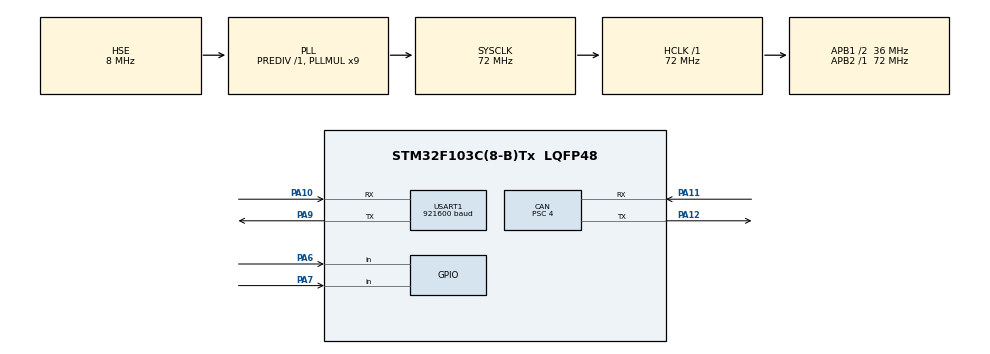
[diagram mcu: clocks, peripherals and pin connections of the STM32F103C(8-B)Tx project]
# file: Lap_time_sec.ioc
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CAN.BS1=CAN_BS1_15TQ
CAN.BS2=CAN_BS2_2TQ
CAN.CalculateBaudRate=500000
CAN.CalculateTimeBit=1999.99
CAN.CalculateTimeQuantum=111.11111111111111
CAN.Prescaler=4
Mcu.Family=STM32F1
Mcu.Name=STM32F103C(8-B)Tx
Mcu.Package=LQFP48
NVIC.PriorityGroup=NVIC_PRIORITYGROUP_4
NVIC.TIM3_IRQn=true\:0\:0\:false\:false\:true\:true\:true
NVIC.USB_LP_CAN1_RX0_IRQn=true\:0\:0\:false\:false\:true\:true\:true
PA10.Mode=Asynchronous
PA10.Signal=USART1_RX
PA11.Mode=CAN_Activate
PA11.Signal=CAN_RX
PA12.Mode=CAN_Activate
PA12.Signal=CAN_TX
PA13.Mode=Serial_Wire
PA13.Signal=SYS_JTMS-SWDIO
PA14.Mode=Serial_Wire
PA14.Signal=SYS_JTCK-SWCLK
PA6.GPIO_PuPd=GPIO_PULLUP
PA6.Signal=GPIO_Input
PA7.GPIO_PuPd=GPIO_PULLUP
PA7.Signal=GPIO_Input
PA9.Mode=Asynchronous
PA9.Signal=USART1_TX
PD0-OSC_IN.Mode=HSE-External-Oscillator
PD0-OSC_IN.Signal=RCC_OSC_IN
PD1-OSC_OUT.Mode=HSE-External-Oscillator
PD1-OSC_OUT.Signal=RCC_OSC_OUT
ProjectManager.HeapSize=0x200
ProjectManager.StackSize=0x400
ProjectManager.TargetToolchain=MDK-ARM V5
RCC.AHBFreq_Value=72000000
RCC.APB1CLKDivider=RCC_HCLK_DIV2
RCC.APB1Freq_Value=36000000
RCC.APB1TimFreq_Value=72000000
RCC.APB2Freq_Value=72000000
RCC.APB2TimFreq_Value=72000000
RCC.HCLKFreq_Value=72000000
RCC.PLLMUL=RCC_PLL_MUL9
RCC.PLLSourceVirtual=RCC_PLLSOURCE_HSE
RCC.SYSCLKFreq_VALUE=72000000
RCC.SYSCLKSource=RCC_SYSCLKSOURCE_PLLCLK
RCC.USBFreq_Value=72000000
TIM3.Period=10-1
TIM3.Prescaler=7200-1
USART1.BaudRate=921600
USART1.VirtualMode=VM_ASYNC
VP_TIM3_VS_ClockSourceINT.Mode=Internal
board=custom

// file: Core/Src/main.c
/* USER CODE BEGIN Header */
/**
  ******************************************************************************
  * @file           : main.c
  * @brief          : Main program body
  ******************************************************************************
  * @attention
  *
  * <h2><center>&copy; Copyright (c) 2022 STMicroelectronics.
  * All rights reserved.</center></h2>
  *
  * This software component is licensed by ST under BSD 3-Clause license,
  * the "License"; You may not use this file except in compliance with the
  * License. You may obtain a copy of the License at:
  *                        opensource.org/licenses/BSD-3-Clause
  *
  ******************************************************************************
  */
/* USER CODE END Header */
#include "main.h"
#include "lap_time.h"
#include "RPM.h"
#include "UART1.h"
#include "Speed.h"
#include "can_Rx.h"
#include "warnning_message.h"
#include "Throttle.h"
#include "BL.h"

TIM_HandleTypeDef htim3;

//UART_HandleTypeDef huart1;

void SystemClock_Config(void);
static void MX_GPIO_Init(void);
static void MX_TIM3_Init(void);
static void MX_USART1_UART_Init(void);
static void MX_CAN_Init(void);

/* USER CODE BEGIN 0 */

	uint8_t *RX_message;

uint32_t delay=0;
  uint32_t zeroFlag;
	uint32_t highFlag;

	uint32_t zero;
	uint32_t high;
	uint8_t pic[]="vis t7,0";
	uint8_t picdel[]="vis t7,1";
	uint32_t first1=0;

void start_stop_button(void)
{

	if(HAL_GPIO_ReadPin(GPIOA,GPIO_PIN_6)==1){
					zeroFlag=0;
			}
			//falling edge
			else if(HAL_GPIO_ReadPin(GPIOA,GPIO_PIN_6)==0 && zeroFlag==0){
				zeroFlag=1;
				highFlag=0;
				if(first1==0)
				{
					first1=1;
					HAL_TIM_Base_Start_IT(&htim3);
				}
				else
				{
					Gap_best_last();
					Gap_last_last();

					BEST_LAP();
					LAST_LAP();
					laps++;
					LAPs();
					sec=0;
          min=0;
          mil=0;
				}

			}
			//rising edge
			if(HAL_GPIO_ReadPin(GPIOA,GPIO_PIN_6)==1 && highFlag==0){
					highFlag=1;
			}

}

void reset_button(void)
{
	if(HAL_GPIO_ReadPin(GPIOA,GPIO_PIN_7)==1){
					zero=0;
			}
			//falling edge
			else if(HAL_GPIO_ReadPin(GPIOA,GPIO_PIN_7)==0 && zero==0){
			  zero=1;
				high=0;
        sec=0;
        min=0;
        mil=0;
        last_sec=0;
        last_min=0;
				last_mil=0;
				rest_all();
			}
			//rising edge
			if(HAL_GPIO_ReadPin(GPIOA,GPIO_PIN_7)==1 && high==0){
				high=1;
			}

}

void StartStop(uint8_t SSS)
{
	uint8_t Cmd_End1[3]={0xFF,0xFF,0xFF};
	uint8_t SSSON[]="p4.pic=20";
	uint8_t SSSOFF[]="p4.pic=21";
		if(SSS==1)
		{
			HAL_UART_Transmit(&huart1,SSSON,9,1000);
			HAL_UART_Transmit(&huart1,Cmd_End,3,100);
		}else{
			HAL_UART_Transmit(&huart1,SSSOFF,9,1000);
			HAL_UART_Transmit(&huart1,Cmd_End,3,100);
		}
}

/* USER CODE END 0 */

int main(void)
{

  /* MCU Configuration--------------------------------------------------------*/

  /* Reset of all peripherals, Initializes the Flash interface and the Systick. */
  HAL_Init();

  /* Configure the system clock */
  SystemClock_Config();

  /* Initialize all configured peripherals */
  MX_GPIO_Init();
  MX_TIM3_Init();
  MX_USART1_UART_Init();
  MX_CAN_Init();
  /* USER CODE BEGIN 2 */
	HAL_UART_Init(&huart1);

	//uint16_t value;

	 HAL_UART_Receive(&huart1,RX_message,1,1000);

	rest_hmi();
	CAN_Config_filter();
	HAL_CAN_ActivateNotification(&hcan,CAN_IT_RX_FIFO0_MSG_PENDING);
	HAL_CAN_Start(&hcan);

	//HAL_UART_Transmit(&huart1,picdel,8,1000);
	//HAL_UART_Transmit(&huart1,Cmd_End,3,100);
  /* USER CODE END 2 */

  /* Infinite loop */
  /* USER CODE BEGIN WHILE */
  uint8_t draw[5]="cirs ";
	uint8_t Red[3]="RED";
	uint8_t black[5]="BLACK";
	uint8_t buf4=',';
	uint8_t buf5=' ';
	uint8_t buf6[2]="2,";
	uint8_t buf_val[4];
	uint32_t temp;

  while (1)
  {

		StartStop(0);

		RPM(6000);
		throttle_position(100);
		BL(100);

//		for(int i=0;i<300;i=i+4){
//
//			temp=i;
//			buf_val[3]=(temp%10)+48;
//			temp=temp/10;
//			buf_val[2]=(temp%10)+48;
//			temp=temp/10;
//			buf_val[1]=(temp%10)+48;
//			temp=temp/10;
//			buf_val[0]=(temp%10)+48;
//
//			HAL_UART_Transmit(&huart1,draw,5,1000);
//			//HAL_UART_Transmit(&huart1,&buf5,1,1000);
//			HAL_UART_Transmit(&huart1,&buf_val[0],1,1000);
//			HAL_UART_Transmit(&huart1,&buf_val[1],1,1000);
//	  	HAL_UART_Transmit(&huart1,&buf_val[2],1,1000);
//	  	HAL_UART_Transmit(&huart1,&buf_val[3],1,1000);
//			HAL_UART_Transmit(&huart1,&buf4,1,1000);
//			HAL_UART_Transmit(&huart1,&buf_val[0],1,1000);
//			HAL_UART_Transmit(&huart1,&buf_val[1],1,1000);
//	  	HAL_UART_Transmit(&huart1,&buf_val[2],1,1000);
//	  	HAL_UART_Transmit(&huart1,&buf_val[3],1,1000);
//			HAL_UART_Transmit(&huart1,&buf4,1,1000);
//			HAL_UART_Transmit(&huart1,buf6,2,1000);
//			HAL_UART_Transmit(&huart1,Red,3,1000);
//			HAL_UART_Transmit(&huart1,Cmd_End,3,100);
//			HAL_Delay(100);
//
//			HAL_UART_Transmit(&huart1,draw,5,1000);
//			//HAL_UART_Transmit(&huart1,&buf5,1,1000);
//			HAL_UART_Transmit(&huart1,&buf_val[0],1,1000);
//			HAL_UART_Transmit(&huart1,&buf_val[1],1,1000);
//	  	HAL_UART_Transmit(&huart1,&buf_val[2],1,1000);
//	  	HAL_UART_Transmit(&huart1,&buf_val[3],1,1000);
//			HAL_UART_Transmit(&huart1,&buf4,1,1000);
//			HAL_UART_Transmit(&huart1,&buf_val[0],1,1000);
//			HAL_UART_Transmit(&huart1,&buf_val[1],1,1000);
//	  	HAL_UART_Transmit(&huart1,&buf_val[2],1,1000);
//	  	HAL_UART_Transmit(&huart1,&buf_val[3],1,1000);
//			HAL_UART_Transmit(&huart1,&buf4,1,1000);
//			HAL_UART_Transmit(&huart1,buf6,2,1000);
//			HAL_UART_Transmit(&huart1,black,5,1000);
//			HAL_UART_Transmit(&huart1,Cmd_End,3,100);
//			}
//
}

//		for(int i=0;i<=100;i++)
//		{
//			RPM(i);
//		}

//					if(sec==1)
//					{
//						HAL_UART_Transmit(&huart1,pic,8,1000);
//						HAL_UART_Transmit(&huart1,Cmd_End,3,100);
//
//					}else if(sec==4)
//					{
//								HAL_UART_Transmit(&huart1,picdel,8,1000);
//								HAL_UART_Transmit(&huart1,Cmd_End,3,100);
//					}

////////////		start_stop_button();
////////////		reset_button();

//reset Alllllllll/////////////////////////////////////////////////

    /* USER CODE END WHILE */

}

void SystemClock_Config(void)
{
  RCC_OscInitTypeDef RCC_OscInitStruct = {0};
  RCC_ClkInitTypeDef RCC_ClkInitStruct = {0};

  /** Initializes the RCC Oscillators according to the specified parameters
  * in the RCC_OscInitTypeDef structure.
  */
  RCC_OscInitStruct.OscillatorType = RCC_OSCILLATORTYPE_HSE;
  RCC_OscInitStruct.HSEState = RCC_HSE_ON;
  RCC_OscInitStruct.HSEPredivValue = RCC_HSE_PREDIV_DIV1;
  RCC_OscInitStruct.HSIState = RCC_HSI_ON;
  RCC_OscInitStruct.PLL.PLLState = RCC_PLL_ON;
  RCC_OscInitStruct.PLL.PLLSource = RCC_PLLSOURCE_HSE;
  RCC_OscInitStruct.PLL.PLLMUL = RCC_PLL_MUL9;
  if (HAL_RCC_OscConfig(&RCC_OscInitStruct) != HAL_OK)
  {
    Error_Handler();
  }
  /** Initializes the CPU, AHB and APB buses clocks
  */
  RCC_ClkInitStruct.ClockType = RCC_CLOCKTYPE_HCLK|RCC_CLOCKTYPE_SYSCLK
                              |RCC_CLOCKTYPE_PCLK1|RCC_CLOCKTYPE_PCLK2;
  RCC_ClkInitStruct.SYSCLKSource = RCC_SYSCLKSOURCE_PLLCLK;
  RCC_ClkInitStruct.AHBCLKDivider = RCC_SYSCLK_DIV1;
  RCC_ClkInitStruct.APB1CLKDivider = RCC_HCLK_DIV2;
  RCC_ClkInitStruct.APB2CLKDivider = RCC_HCLK_DIV1;

  if (HAL_RCC_ClockConfig(&RCC_ClkInitStruct, FLASH_LATENCY_2) != HAL_OK)
  {
    Error_Handler();
  }
}

static void MX_CAN_Init(void)
{

  hcan.Instance = CAN1;
  hcan.Init.Prescaler = 4;
  hcan.Init.Mode = CAN_MODE_NORMAL;
  hcan.Init.SyncJumpWidth = CAN_SJW_1TQ;
  hcan.Init.TimeSeg1 = CAN_BS1_15TQ;
  hcan.Init.TimeSeg2 = CAN_BS2_2TQ;
  hcan.Init.TimeTriggeredMode = DISABLE;
  hcan.Init.AutoBusOff = DISABLE;
  hcan.Init.AutoWakeUp = DISABLE;
  hcan.Init.AutoRetransmission = DISABLE;
  hcan.Init.ReceiveFifoLocked = DISABLE;
  hcan.Init.TransmitFifoPriority = DISABLE;
  if (HAL_CAN_Init(&hcan) != HAL_OK)
  {
    Error_Handler();
  }

}

static void MX_TIM3_Init(void)
{

  TIM_ClockConfigTypeDef sClockSourceConfig = {0};
  TIM_MasterConfigTypeDef sMasterConfig = {0};

  htim3.Instance = TIM3;
  htim3.Init.Prescaler = 7200-1;
  htim3.Init.CounterMode = TIM_COUNTERMODE_UP;
  htim3.Init.Period = 10-1;
  htim3.Init.ClockDivision = TIM_CLOCKDIVISION_DIV1;
  htim3.Init.AutoReloadPreload = TIM_AUTORELOAD_PRELOAD_DISABLE;
  if (HAL_TIM_Base_Init(&htim3) != HAL_OK)
  {
    Error_Handler();
  }
  sClockSourceConfig.ClockSource = TIM_CLOCKSOURCE_INTERNAL;
  if (HAL_TIM_ConfigClockSource(&htim3, &sClockSourceConfig) != HAL_OK)
  {
    Error_Handler();
  }
  sMasterConfig.MasterOutputTrigger = TIM_TRGO_RESET;
  sMasterConfig.MasterSlaveMode = TIM_MASTERSLAVEMODE_DISABLE;
  if (HAL_TIMEx_MasterConfigSynchronization(&htim3, &sMasterConfig) != HAL_OK)
  {
    Error_Handler();
  }

}

static void MX_USART1_UART_Init(void)
{

  huart1.Instance = USART1;
  huart1.Init.BaudRate = 921600;
  huart1.Init.WordLength = UART_WORDLENGTH_8B;
  huart1.Init.StopBits = UART_STOPBITS_1;
  huart1.Init.Parity = UART_PARITY_NONE;
  huart1.Init.Mode = UART_MODE_TX_RX;
  huart1.Init.HwFlowCtl = UART_HWCONTROL_NONE;
  huart1.Init.OverSampling = UART_OVERSAMPLING_16;
  if (HAL_UART_Init(&huart1) != HAL_OK)
  {
    Error_Handler();
  }

}

static void MX_GPIO_Init(void)
{
  GPIO_InitTypeDef GPIO_InitStruct = {0};

  /* GPIO Ports Clock Enable */
  __HAL_RCC_GPIOD_CLK_ENABLE();
  __HAL_RCC_GPIOA_CLK_ENABLE();

  /*Configure GPIO pins : PA6 PA7 */
  GPIO_InitStruct.Pin = GPIO_PIN_6|GPIO_PIN_7;
  GPIO_InitStruct.Mode = GPIO_MODE_INPUT;
  GPIO_InitStruct.Pull = GPIO_PULLUP;
  HAL_GPIO_Init(GPIOA, &GPIO_InitStruct);

}

/* USER CODE BEGIN 4 */

void HAL_TIM_PeriodElapsedCallback(TIM_HandleTypeDef* htim)
{
	  if(htim==&htim3){
			 LAP_Time();

				if(StartWarnningV==1)
				{
					StartWarnning();
				}

	  if(HAL_GPIO_ReadPin(GPIOA,GPIO_PIN_6)==0)
	  {
		   if(reset3sec==3)
		 {
		   rest_all();
			 reset3sec=0;
			 delay++;
		 }
	  }

		}
}

volatile CAN_RxHeaderTypeDef CANRxHeader;

void HAL_CAN_RxFifo0MsgPendingCallback(CAN_HandleTypeDef *hcan)
{
	uint8_t ReceivedCANMessage[8];
	if(HAL_CAN_GetRxMessage(hcan,CAN_RX_FIFO0,&CANRxHeader,ReceivedCANMessage)==HAL_OK)
	{

	}

	//Endurance Autocross
	if(*RX_message==0x30 || *RX_message==0x31)
	{
				//ECU RPM, Temp, Throttle
				if(CANRxHeader.StdId==0x50)
				{
					//RPM calculations
					uint8_t RPM_ECU[2];
					RPM_ECU[0]=ReceivedCANMessage[0];
					RPM_ECU[1]=ReceivedCANMessage[1];
					uint64_t rpm= ((RPM_ECU[0]<<8) | RPM_ECU[1]);
					RPM(rpm);

					//Battery Level Calculations
					uint32_t Battery_level=ReceivedCANMessage[2];
					BL(Battery_level);

					//Temp Calculations
					uint8_t temp[2];
					temp[0]=ReceivedCANMessage[3];
					temp[1]=ReceivedCANMessage[4];

					//throttle Position Calculations
					uint8_t throttle[2];
					throttle[0]=ReceivedCANMessage[5];
					throttle[1]=ReceivedCANMessage[6];
					uint32_t throttleVar= ((throttle[0]<<8) | throttle[1]);
					throttle_position(throttleVar);

				}
				//DAQ IMU Euler Angle
				else if (CANRxHeader.StdId==0x51)
				{

				}
				//DAQ IMU ACC
				else if (CANRxHeader.StdId==0x52)
				{

				}
				//Steering, break switch, Speed
				else if (CANRxHeader.StdId==0x53)
				{
					uint8_t Steering[2];
					Steering[0]=ReceivedCANMessage[0];
					Steering[1]=ReceivedCANMessage[1];
					uint8_t Break_switch=ReceivedCANMessage[2];
					uint8_t Speed[2];
					Speed[0]=ReceivedCANMessage[3];
					Speed[1]=ReceivedCANMessage[4];

					uint32_t speedVar=((Speed[0]<<8)|Speed[1]);
					speed(speedVar);

				}
				//Wheel RPM
				else if (CANRxHeader.StdId==0x54)
				{

				}
				//4 travel
				else if (CANRxHeader.StdId==0x55)
				{

				}
				//Symbol SSE
				else if (CANRxHeader.StdId==0x70)
				{
						uint8_t SSS=ReceivedCANMessage[0];
						StartStop(SSS);

				}
				//WM SSE
				else if (CANRxHeader.StdId==0x71)
				{
							uint8_t Cmd_End1[3]={0xFF,0xFF,0xFF};
							uint8_t WM_SSE[]="p5.pic=24";
							uint8_t picdel[]="vis p5,0";
							uint8_t pic[]="vis p5,1";
							//display Warnning
							HAL_UART_Transmit(&huart1,pic,8,1000);
							HAL_UART_Transmit(&huart1,Cmd_End,3,100);
							HAL_UART_Transmit(&huart1,WM_SSE,9,1000);
							HAL_UART_Transmit(&huart1,Cmd_End,3,100);
							counter=0;
							StartWarnningV=1;

				}
				//WM ECU
				else if (CANRxHeader.StdId==0x72)
				{
							uint8_t Cmd_End1[3]={0xFF,0xFF,0xFF};
							uint8_t WM_ECU[]="p5.pic=23";
							uint8_t picdel[]="vis p5,0";
							uint8_t pic[]="vis p5,1";
							HAL_UART_Transmit(&huart1,pic,8,1000);
							HAL_UART_Transmit(&huart1,Cmd_End,3,100);
							HAL_UART_Transmit(&huart1,WM_ECU,9,1000);
							HAL_UART_Transmit(&huart1,Cmd_End,3,100);
							counter=0;
							StartWarnningV=1;
				}

	}
	//Acceleration
	else if(*RX_message==0x32)
	{
			//ECU RPM, Temp, Throttle
				if(CANRxHeader.StdId==0x50)
				{

				}
				//DAQ IMU Euler Angle
				else if (CANRxHeader.StdId==0x51)
				{

				}
				//DAQ IMU ACC
				else if (CANRxHeader.StdId==0x52)
				{

				}
				//Steering, break switch, Speed
				else if (CANRxHeader.StdId==0x53)
				{

				}
				//Wheel RPM
				else if (CANRxHeader.StdId==0x54)
				{

				}
				//4 travel
				else if (CANRxHeader.StdId==0x55)
				{

				}
				//Symbol SSE
				else if (CANRxHeader.StdId==0x70)
				{

				}
				//WM SSE
				else if (CANRxHeader.StdId==0x71)
				{

				}
				//WM ECU
				else if (CANRxHeader.StdId==0x72)
				{

				}

	}
	//Skidpad
	else
	{
				//ECU RPM, Temp, Throttle
				if(CANRxHeader.StdId==0x50)
				{

				}
				//DAQ IMU Euler Angle
				else if (CANRxHeader.StdId==0x51)
				{

				}
				//DAQ IMU ACC
				else if (CANRxHeader.StdId==0x52)
				{

				}
				//Steering, break switch, Speed
				else if (CANRxHeader.StdId==0x53)
				{

				}
				//Wheel RPM
				else if (CANRxHeader.StdId==0x54)
				{

				}
				//4 travel
				else if (CANRxHeader.StdId==0x55)
				{

				}
				//Symbol SSE
				else if (CANRxHeader.StdId==0x70)
				{

				}
				//WM SSE
				else if (CANRxHeader.StdId==0x71)
				{

				}
				//WM ECU
				else if (CANRxHeader.StdId==0x72)
				{

				}
	}

}
/* USER CODE END 4 */

void Error_Handler(void)
{
  __disable_irq();
  while (1)
  {
  }
}

/************************ (C) COPYRIGHT STMicroelectronics *****END OF FILE****/
